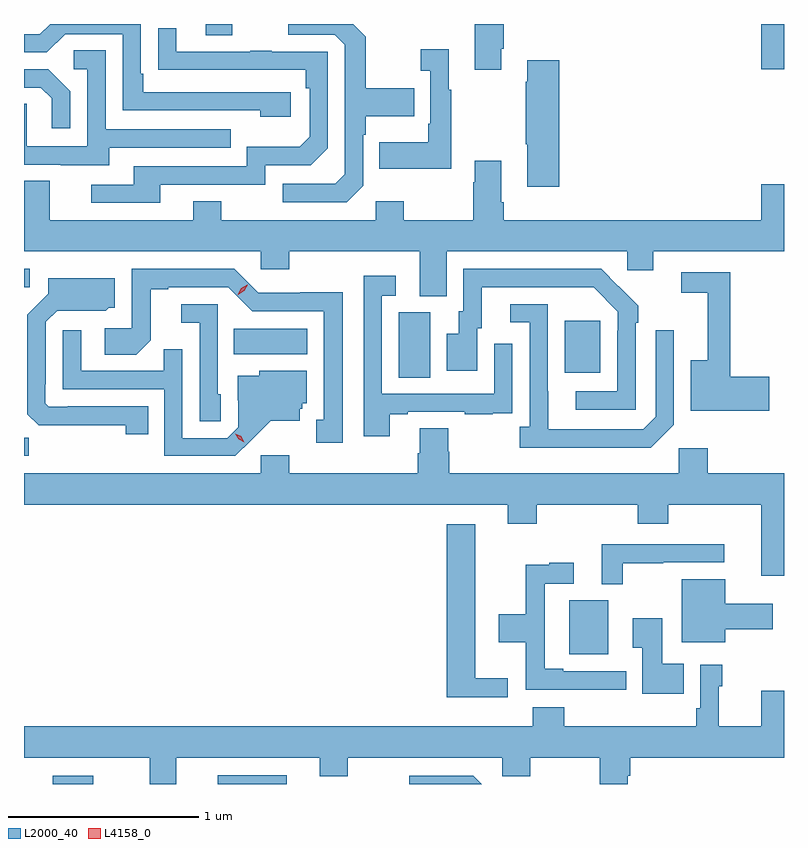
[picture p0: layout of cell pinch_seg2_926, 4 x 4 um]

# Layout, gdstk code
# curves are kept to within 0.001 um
import gdstk
lib = gdstk.Library(unit=1e-6, precision=1e-09)
def R(c, l, rs):  # rectangles x0, y0, x1, y1
    for r in rs: c.add(gdstk.rectangle(r[:2], r[2:], *l))
def P(c, l, *ps):  # polygons
    for p in ps: c.add(gdstk.Polygon(p, *l))
L2000_40 = (2000, 40)
L4158_0 = (4158, 0)

pinch_seg2_926 = lib.new_cell('pinch_seg2_926')
R(pinch_seg2_926, L2000_40, [(317.121,656.821,317.335,656.865), (317.991,656.821,318.355,656.868), (319.841,657.503,320.047,657.787), (316.971,658.548,316.995,658.643), (318.944,658.96,319.108,659.304), (319.817,658.985,320.005,659.26), (318.076,659.084,318.463,659.218), (316.971,659.436,317.002,659.532), (320.852,660.582,320.971,660.821), (317.927,660.762,318.067,660.821)])
P(pinch_seg2_926, L2000_40, [(318.756,659.97),(318.756,660.239),(318.769,660.239),(318.769,660.335),(319.025,660.335),(319.025,660.483),(318.769,660.483),(318.769,660.755),(318.703,660.821),(318.363,660.821),(318.363,660.765),(318.606,660.765),(318.66,660.711),(318.66,660.03),(318.609,659.979),(318.333,659.979),(318.333,659.883),(318.669,659.883)],
  [(319.483,660.691),(319.496,660.691),(319.496,660.821),(319.343,660.821),(319.343,660.579),(319.483,660.579)],
  [(318.376,660.462),(317.599,660.462),(317.599,660.559),(317.586,660.559),(317.586,660.821),(317.108,660.821),(317.055,660.768),(316.971,660.768),(316.971,660.672),(317.091,660.672),(317.187,660.768),(317.49,660.768),(317.49,660.366),(318.215,660.366),(318.215,660.332),(318.376,660.332)],
  [(317.689,659.976),(318.24,659.976),(318.24,660.078),(318.48,660.078),(318.57,660.168),(318.57,660.675),(318.275,660.675),(318.275,660.68),(318.163,660.68),(318.163,660.675),(317.773,660.675),(317.773,660.799),(317.677,660.799),(317.677,660.58),(318.454,660.579),(318.454,660.482),(318.474,660.482),(318.474,660.228),(318.421,660.175),(318.144,660.175),(318.144,660.072),(317.549,660.072),(317.549,659.976),(317.325,659.976),(317.325,659.88),(317.689,659.88)],
  [(319.219,660.475),(319.207,660.475),(319.207,660.688),(319.059,660.688),(319.059,660.575),(319.11,660.575),(319.11,660.295),(319.098,660.295),(319.098,660.199),(318.841,660.199),(318.841,660.059),(319.219,660.059)],
  [(317.419,660.171),(318.059,660.171),(318.059,660.267),(317.4,660.267),(317.4,660.683),(317.232,660.683),(317.232,660.582),(317.304,660.582),(317.304,660.177),(316.986,660.177),(316.986,660.401),(316.971,660.401),(316.971,660.081),(317.165,660.081),(317.165,660.077),(317.419,660.077)],
  [(319.787,660.631),(319.619,660.631),(319.619,660.518),(319.612,660.518),(319.612,660.187),(319.619,660.187),(319.619,659.964),(319.787,659.964)],
  [(317.214,660.466),(317.098,660.582),(316.971,660.582),(316.971,660.486),(317.06,660.486),(317.117,660.429),(317.117,660.273),(317.214,660.273)],
  [(319.195,659.624),(320.145,659.624),(320.145,659.526),(320.284,659.526),(320.284,659.624),(320.971,659.624),(320.971,659.977),(320.852,659.977),(320.852,659.788),(319.496,659.788),(319.496,659.884),(319.483,659.884),(319.483,660.1),(319.343,660.1),(319.343,659.987),(319.336,659.987),(319.336,659.788),(318.969,659.788),(318.969,659.887),(318.822,659.887),(318.822,659.788),(318.009,659.788),(318.009,659.887),(317.861,659.887),(317.861,659.788),(317.107,659.788),(317.107,659.996),(316.971,659.996),(316.971,659.624),(318.216,659.624),(318.216,659.531),(318.368,659.531),(318.368,659.624),(319.055,659.624),(319.055,659.389),(319.195,659.389)],
  [(320.19,659.249),(320.205,659.249),(320.205,659.337),(320.008,659.532),(319.284,659.532),(319.284,659.31),(319.259,659.31),(319.259,659.191),(319.196,659.191),(319.196,658.995),(319.357,658.995),(319.357,659.22),(319.381,659.22),(319.381,659.436),(319.969,659.436),(320.097,659.307),(320.097,659.207),(320.094,659.207),(320.094,658.887),(319.875,658.887),(319.875,658.791),(320.19,658.791)],
  [(318.649,659.408),(318.426,659.408),(318.426,659.406),(318.204,659.406),(318.078,659.532),(317.538,659.532),(317.538,659.22),(317.397,659.22),(317.397,659.08),(317.561,659.08),(317.637,659.156),(317.637,659.424),(317.731,659.424),(317.731,659.436),(318.045,659.436),(318.171,659.31),(318.548,659.31),(318.548,658.737),(318.509,658.737),(318.509,658.617),(318.649,658.617)],
  [(320.893,658.964),(320.687,658.964),(320.687,659.514),(320.43,659.514),(320.43,659.406),(320.57,659.406),(320.57,659.05),(320.48,659.05),(320.48,658.786),(320.893,658.786)],
  [(318.895,658.767),(318.991,658.767),(318.991,658.779),(319.291,658.779),(319.291,658.767),(319.439,658.767),(319.439,658.773),(319.541,658.773),(319.541,658.882),(319.542,658.882),(319.542,659.137),(319.446,659.137),(319.446,658.875),(318.855,658.875),(318.855,659.391),(318.928,659.391),(318.928,659.497),(318.759,659.497),(318.759,658.65),(318.895,658.65)],
  [(317.624,658.809),(317.2,658.809),(317.2,658.806),(317.1,658.806),(317.082,658.824),(317.082,658.924),(317.085,658.924),(317.085,659.253),(317.145,659.313),(317.402,659.312),(317.418,659.328),(317.449,659.328),(317.449,659.482),(317.099,659.482),(317.099,659.4),(316.989,659.29),(316.989,658.768),(317.048,658.709),(317.506,658.708),(317.506,658.662),(317.624,658.662)],
  [(320.391,658.713),(320.391,659.209),(320.295,659.209),(320.295,658.755),(320.229,658.689),(319.729,658.689),(319.728,659.346),(319.53,659.346),(319.53,659.25),(319.632,659.25),(319.632,658.702),(319.581,658.702),(319.581,658.592),(320.27,658.592)],
  [(318.006,658.872),(317.991,658.872),(317.991,659.346),(317.799,659.346),(317.799,659.249),(317.895,659.249),(317.895,658.729),(318.006,658.729)],
  [(318.166,658.631),(318.269,658.733),(318.421,658.733),(318.421,658.797),(318.435,658.797),(318.435,658.824),(318.46,658.824),(318.46,658.996),(318.21,658.996),(318.21,658.969),(318.095,658.969),(318.095,658.84),(318.099,658.84),(318.099,658.698),(318.042,658.641),(317.805,658.641),(317.805,659.108),(317.707,659.108),(317.707,658.995),(317.271,658.995),(317.271,659.209),(317.175,659.209),(317.175,658.899),(317.709,658.899),(317.709,658.548),(318.082,658.548)],
  [(320.971,658.456),(320.57,658.456),(320.57,658.588),(320.418,658.588),(320.418,658.456),(319.208,658.456),(319.208,658.569),(319.203,658.569),(319.203,658.694),(319.055,658.694),(319.055,658.562),(319.043,658.562),(319.043,658.456),(318.368,658.456),(318.368,658.552),(318.216,658.552),(318.216,658.456),(316.971,658.456),(316.971,658.292),(319.517,658.292),(319.517,658.19),(319.67,658.19),(319.67,658.292),(320.201,658.292),(320.201,658.19),(320.361,658.19),(320.361,658.292),(320.852,658.292),(320.852,657.918),(320.971,657.918)],
  [(319.516,657.377),(319.345,657.377),(319.345,658.189),(319.196,658.189),(319.196,657.278),(319.516,657.278)],
  [(320.122,657.982),(320.336,657.982),(320.336,657.987),(320.656,657.987),(320.656,658.083),(320.012,658.083),(320.012,657.872),(320.122,657.872)],
  [(320.14,657.414),(319.81,657.414),(319.81,657.427),(319.713,657.427),(319.713,657.876),(319.864,657.876),(319.864,657.985),(319.736,657.985),(319.736,657.974),(319.612,657.974),(319.612,657.714),(319.47,657.714),(319.47,657.566),(319.612,657.566),(319.612,657.318),(319.897,657.318),(319.897,657.317),(320.14,657.317)],
  [(320.662,657.635),(320.911,657.635),(320.911,657.769),(320.662,657.769),(320.662,657.898),(320.432,657.898),(320.432,657.566),(320.662,657.566)],
  [(320.444,657.454),(320.329,657.454),(320.329,657.694),(320.175,657.694),(320.175,657.538),(320.225,657.538),(320.225,657.296),(320.444,657.296)],
  [(316.971,656.96),(317.633,656.96),(317.633,656.821),(317.773,656.821),(317.773,656.96),(318.527,656.96),(318.527,656.861),(318.675,656.861),(318.675,656.96),(319.488,656.96),(319.488,656.861),(319.635,656.861),(319.635,656.96),(320.002,656.96),(320.002,656.821),(320.149,656.821),(320.149,656.864),(320.162,656.864),(320.162,656.96),(320.971,656.96),(320.971,657.313),(320.852,657.313),(320.852,657.124),(320.628,657.124),(320.628,657.335),(320.645,657.335),(320.645,657.448),(320.529,657.448),(320.529,657.22),(320.509,657.22),(320.509,657.124),(319.814,657.124),(319.814,657.226),(319.649,657.226),(319.649,657.124),(316.971,657.124)],
  [(319.335,656.865),(318.999,656.865),(318.999,656.821),(319.379,656.821)])
P(pinch_seg2_926, L4158_0, [(318.097,659.397),(318.097,659.397),(318.115,659.43),(318.147,659.448),(318.148,659.448),(318.148,659.448),(318.13,659.416),(318.098,659.397)],
  [(318.131,658.62),(318.1,658.635),(318.083,658.665),(318.083,658.665),(318.083,658.665),(318.114,658.65),(318.131,658.62),(318.131,658.62)])

lib.write_gds('pinch_seg2_926.gds')
